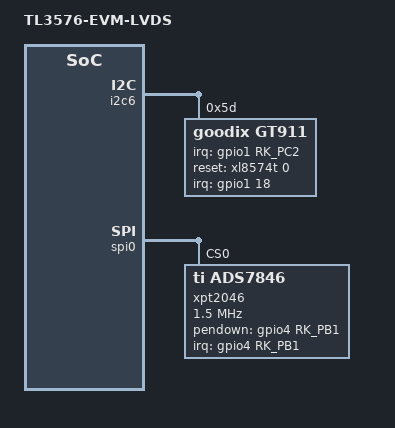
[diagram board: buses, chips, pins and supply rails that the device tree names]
/*
 * Copyright (C) 2015 GuangZhou Tronlong co., LTD - http://www.tronlong.com
 *
 * This program is free software; you can redistribute it and/or modify
 * it under the terms of the GNU General Public License version 2 as
 * published by the Free Software Foundation.
 */

/dts-v1/;

#include "tl3576-evm.dts"

/ {
        model = "TL3576-EVM-LVDS";
};

&dsi_panel {
        /delete-property/ panel-init-sequence;
        /delete-property/ panel-exit-sequence;
};

&dsi_timing0 {
        clock-frequency = <62500000>;
	hactive = <1024>;
	vactive = <768>;
	hfront-porch = <136>;
	hsync-len = <24>;
	hback-porch = <29>;
	vfront-porch = <3>;
	vsync-len = <6>;
	vback-porch = <29>;
	hsync-active = <1>;
	vsync-active = <0>;
	de-active = <1>;
	pixelclk-active = <0>;
};

&i2c6 {
        gt911: gt911@5d {
                status = "okay";
                compatible = "goodix,gt911";
                reg = <0x5d>;
                interrupt-parent = <&gpio1>;
                interrupts = <18 0>;
                irq-gpios = <&gpio1 RK_PC2 0>;
                reset-gpios = <&xl8574t 0 GPIO_ACTIVE_HIGH>;
                pinctrl-names = "default";
                pinctrl-0 = <&gt911_int>;
                touchscreen-inverted-y;
                touchscreen-inverted-x;
        };
};

&spi0 {
        status = "okay";
	pinctrl-names = "default", "high_speed";
	pinctrl-0 = <&spi0m0_csn0 &spi0m0_csn1 &spi0m0_pins>;

        xpt2046@0 {
                reg = <0>;
                compatible = "ti,ads7846";
                spi-max-frequency = <1500000>;
                interrupt-parent = <&gpio4>;
                interrupts = <RK_PB1 0>;
                pendown-gpio = <&gpio4 RK_PB1 0>;
                status = "okay";

                ti,x-min = /bits/ 16 <0>;
                ti,x-max = /bits/ 16 <0xfff>;
                ti,y-min = /bits/ 16 <0>;
                ti,y-max = /bits/ 16 <0xfff>;
                ti,x-plate-ohms = /bits/ 16 <180>;
                ti,pressure-max = /bits/ 16 <512>;
                ti,debounce-max = /bits/ 16 <10>;
                ti,debounce-tol = /bits/ 16 <30>;
                ti,debounce-rep = /bits/ 16 <1>;
                ti,settle-delay-usec = /bits/ 16 <150>;
                ti,keep-vref-on = <1>;

                touchscreen-inverted-y;
        };
};

&vcc3v3_lcd_n {
    status = "disabled";
};

&vcc5v0_host {
    status = "disabled";
};

&dsi_panel {
    /delete-property/ power-supply;
 };

&u2phy1_otg {
    /delete-property/ phy-supply;
 };
